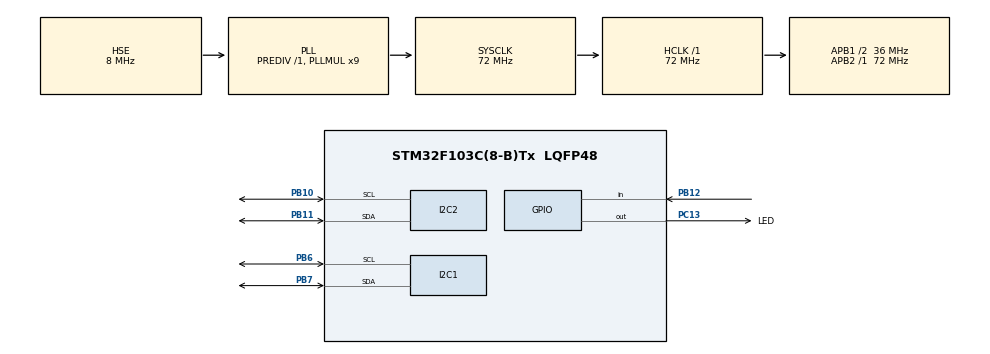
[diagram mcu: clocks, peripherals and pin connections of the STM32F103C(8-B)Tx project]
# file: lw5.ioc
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I2C1.I2C_Mode=I2C_Fast
I2C2.I2C_Mode=I2C_Fast
Mcu.Family=STM32F1
Mcu.Name=STM32F103C(8-B)Tx
Mcu.Package=LQFP48
NVIC.PriorityGroup=NVIC_PRIORITYGROUP_4
NVIC.TIM2_IRQn=true\:0\:0\:false\:false\:true\:true\:true\:true
PA13.Mode=Serial_Wire
PA13.Signal=SYS_JTMS-SWDIO
PA14.Mode=Serial_Wire
PA14.Signal=SYS_JTCK-SWCLK
PB10.Mode=I2C
PB10.Signal=I2C2_SCL
PB11.Mode=I2C
PB11.Signal=I2C2_SDA
PB12.GPIO_PuPd=GPIO_PULLUP
PB12.Signal=GPIO_Input
PB6.Mode=I2C
PB6.Signal=I2C1_SCL
PB7.Mode=I2C
PB7.Signal=I2C1_SDA
PC13-TAMPER-RTC.GPIO_Label=LED
PC13-TAMPER-RTC.GPIO_PuPd=GPIO_NOPULL
PC13-TAMPER-RTC.Signal=GPIO_Output
PD0-OSC_IN.Mode=HSE-External-Oscillator
PD0-OSC_IN.Signal=RCC_OSC_IN
PD1-OSC_OUT.Mode=HSE-External-Oscillator
PD1-OSC_OUT.Signal=RCC_OSC_OUT
ProjectManager.HeapSize=0x200
ProjectManager.StackSize=0x400
ProjectManager.TargetToolchain=Makefile
RCC.AHBFreq_Value=72000000
RCC.APB1CLKDivider=RCC_HCLK_DIV2
RCC.APB1Freq_Value=36000000
RCC.APB1TimFreq_Value=72000000
RCC.APB2Freq_Value=72000000
RCC.APB2TimFreq_Value=72000000
RCC.HCLKFreq_Value=72000000
RCC.PLLMUL=RCC_PLL_MUL9
RCC.PLLSourceVirtual=RCC_PLLSOURCE_HSE
RCC.SYSCLKFreq_VALUE=72000000
RCC.SYSCLKSource=RCC_SYSCLKSOURCE_PLLCLK
RCC.USBFreq_Value=72000000
TIM2.Period=299
TIM2.Prescaler=7199
VP_TIM2_VS_ClockSourceINT.Mode=Internal
board=custom

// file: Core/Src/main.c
/* USER CODE BEGIN Header */
/**
  ******************************************************************************
  * @file           : main.c
  * @brief          : Main program body
  ******************************************************************************
  * @attention
  *
  * Copyright (c) 2026 STMicroelectronics.
  * All rights reserved.
  *
  * This software is licensed under terms that can be found in the LICENSE file
  * in the root directory of this software component.
  * If no LICENSE file comes with this software, it is provided AS-IS.
  *
  ******************************************************************************
  */
/* USER CODE END Header */
#include "main.h"
#include "i2c.h"
#include "tim.h"
#include "gpio.h"

/* USER CODE BEGIN Includes */
// !!!
#include "fonts.h"
#include "ssd1306.h"
#include "stdio.h"
#include "max30102.h"
/* USER CODE END Includes */

/* USER CODE BEGIN PV */
// !!!
extern uint8_t spo2;
extern uint8_t heartRate;
int16_t diff =0;
char SPO2[8] =  {0};
char HR[8] = {0};
int16_t diff_past = 0;
uint8_t i = 0;
/* USER CODE END PV */

void SystemClock_Config(void);

int main(void)
{

  /* MCU Configuration--------------------------------------------------------*/

  /* Reset of all peripherals, Initializes the Flash interface and the Systick. */
  HAL_Init();

  /* Configure the system clock */
  SystemClock_Config();

  /* Initialize all configured peripherals */
  MX_GPIO_Init();
  MX_I2C1_Init();
  MX_I2C2_Init();
  MX_TIM2_Init();

  /* Infinite loop */
  /* USER CODE BEGIN WHILE */
  // !!!
  SSD1306_Init();
  SSD1306_GotoXY (0,0);
  SSD1306_Puts ("max30102", &Font_11x18, 1);
  SSD1306_GotoXY (99,20);
  SSD1306_Puts ("bpm", &Font_7x10, 1);
  SSD1306_GotoXY (99,45);
  SSD1306_Puts ("%", &Font_11x18, 1);
  SSD1306_UpdateScreen();

  HAL_TIM_Base_Start_IT(&htim2);

  max30102_init();
  uint8_t consecutive_valid = 0;
  uint8_t is_showing_pulse = 255;
  uint8_t past_heartRate = 0;
  int16_t diff_past = 0;

  while (1)
  {
    if (HAL_GPIO_ReadPin(GPIOB, GPIO_PIN_12) == GPIO_PIN_RESET)
    {
      HAL_GPIO_TogglePin(GPIOC, GPIO_PIN_13);

      max30102_cal();
      spo2 = max30102_getSpO2();
      heartRate = max30102_getHeartRate();
      int16_t current_diff = max30102_getDiff();

      int16_t graph_val = current_diff;
      if (graph_val > 15) graph_val = 15;
      if (graph_val < 0) graph_val = 0;

      if (i == 0) diff_past = graph_val;

      SSD1306_DrawLine(i, 15 - diff_past, i + 1, 15 - graph_val, 1);
      diff_past = graph_val;

      if (i > 124) {
        SSD1306_DrawFilledRectangle(0, 0, 127, 16, 0);
        i = 0;
      } else {
        i++;
      }

      uint8_t is_valid_range = (heartRate >= 30 && heartRate <= 220 && spo2 > 0);
      uint8_t is_stable = 0;

      if (is_valid_range) {
        if (past_heartRate == 0) {
          is_stable = 1;
        } else {
          int16_t hr_delta = abs((int16_t)heartRate - (int16_t)past_heartRate);
          int16_t threshold = (past_heartRate * 20) / 100;

          if (hr_delta <= threshold) {
            is_stable = 1;
          }
        }
      }

      if (is_stable) {
        past_heartRate = heartRate;
        if (consecutive_valid < 10) consecutive_valid++;
      } else {
        if (consecutive_valid > 0) consecutive_valid--;
        if (consecutive_valid == 0) past_heartRate = 0;
      }

      uint8_t should_show_pulse = (consecutive_valid >= 3);

      if (should_show_pulse != is_showing_pulse)
      {
        is_showing_pulse = should_show_pulse;

        SSD1306_DrawFilledRectangle(0, 17, 128, 47, 0);

        if (is_showing_pulse)
        {

          SSD1306_GotoXY(99, 20);
          SSD1306_Puts("bpm", &Font_7x10, 1);
          SSD1306_GotoXY(99, 45);
          SSD1306_Puts("%", &Font_11x18, 1);
        }
        else
        {
          SSD1306_GotoXY(0, 25);
          SSD1306_Puts("Scanning", &Font_7x10, 1);
          SSD1306_GotoXY(0, 45);
          SSD1306_Puts("pulse...", &Font_7x10, 1);
        }
      }

      if (is_showing_pulse)
      {
        sprintf(HR, "%3d", heartRate > 999 ? 999 : heartRate);
        sprintf(SPO2, "%3d", spo2);

        SSD1306_GotoXY(60, 20);
        SSD1306_Puts(HR, &Font_11x18, 1);
        SSD1306_GotoXY(60, 45);
        SSD1306_Puts(SPO2, &Font_11x18, 1);
      }

      SSD1306_UpdateScreen();
    }
    /* USER CODE END WHILE */

  }
}

void SystemClock_Config(void)
{
  RCC_OscInitTypeDef RCC_OscInitStruct = {0};
  RCC_ClkInitTypeDef RCC_ClkInitStruct = {0};

  /** Initializes the RCC Oscillators according to the specified parameters
  * in the RCC_OscInitTypeDef structure.
  */
  RCC_OscInitStruct.OscillatorType = RCC_OSCILLATORTYPE_HSE;
  RCC_OscInitStruct.HSEState = RCC_HSE_ON;
  RCC_OscInitStruct.HSEPredivValue = RCC_HSE_PREDIV_DIV1;
  RCC_OscInitStruct.HSIState = RCC_HSI_ON;
  RCC_OscInitStruct.PLL.PLLState = RCC_PLL_ON;
  RCC_OscInitStruct.PLL.PLLSource = RCC_PLLSOURCE_HSE;
  RCC_OscInitStruct.PLL.PLLMUL = RCC_PLL_MUL9;
  if (HAL_RCC_OscConfig(&RCC_OscInitStruct) != HAL_OK)
  {
    Error_Handler();
  }

  /** Initializes the CPU, AHB and APB buses clocks
  */
  RCC_ClkInitStruct.ClockType = RCC_CLOCKTYPE_HCLK|RCC_CLOCKTYPE_SYSCLK
                              |RCC_CLOCKTYPE_PCLK1|RCC_CLOCKTYPE_PCLK2;
  RCC_ClkInitStruct.SYSCLKSource = RCC_SYSCLKSOURCE_PLLCLK;
  RCC_ClkInitStruct.AHBCLKDivider = RCC_SYSCLK_DIV1;
  RCC_ClkInitStruct.APB1CLKDivider = RCC_HCLK_DIV2;
  RCC_ClkInitStruct.APB2CLKDivider = RCC_HCLK_DIV1;

  if (HAL_RCC_ClockConfig(&RCC_ClkInitStruct, FLASH_LATENCY_2) != HAL_OK)
  {
    Error_Handler();
  }
}

void Error_Handler(void)
{
  __disable_irq();
  while (1)
  {
  }
}
